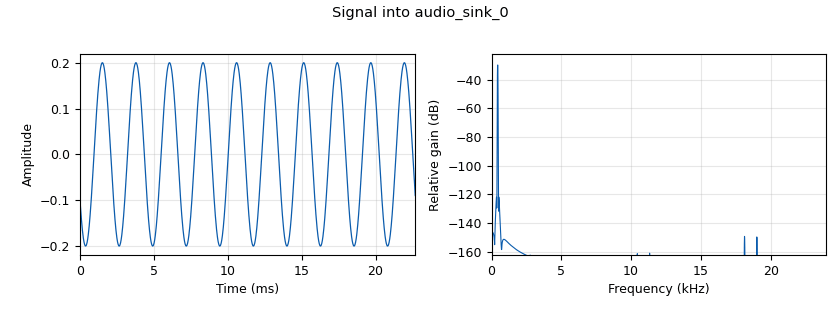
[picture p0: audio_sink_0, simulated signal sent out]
options:
  parameters:
    generate_options: qt_gui
    id: fg_ch14_002
    output_language: python
    title: FG-CH14-002
  states: {}

blocks:
- name: samp_rate
  id: variable
  parameters:
    value: '48000'
  states: {}
- name: analog_sig_source_x_0
  id: analog_sig_source_x
  parameters:
    amp: '0.2'
    freq: '440'
    offset: '0'
    phase: '0'
    samp_rate: samp_rate
    type: float
    waveform: analog.GR_COS_WAVE
  states: {}
- name: audio_sink_0
  id: audio_sink
  parameters:
    samp_rate: '48000'
  states: {}
- name: audio_source_0
  id: audio_source
  parameters:
    samp_rate: '48000'
  states: {}
- name: blocks_null_sink_0
  id: blocks_null_sink
  parameters:
    type: float
  states: {}

connections:
- [analog_sig_source_x_0, '0', audio_sink_0, '0']
- [audio_source_0, '0', blocks_null_sink_0, '0']

metadata:
  file_format: 1
  grc_version: 3.10.12.0
